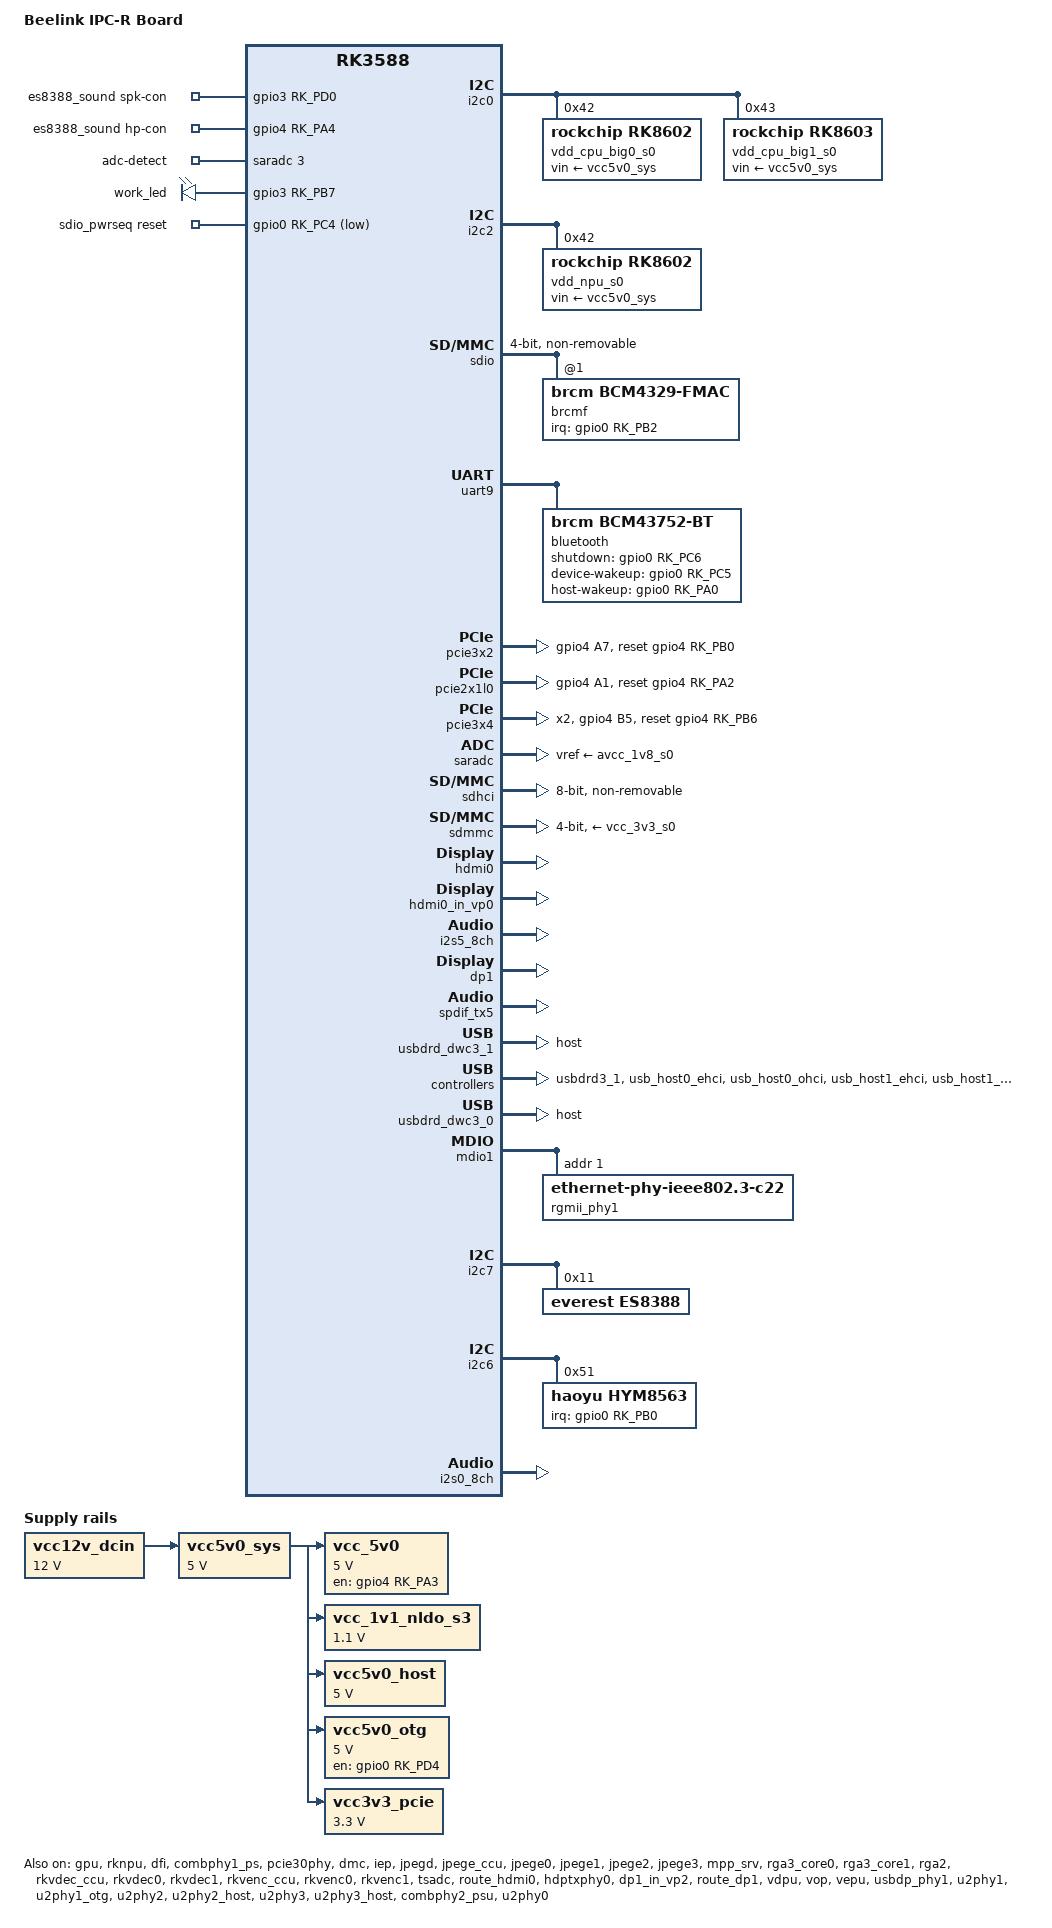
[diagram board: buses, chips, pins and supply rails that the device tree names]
// SPDX-License-Identifier: (GPL-2.0+ OR MIT)
/*
 * Copyright (c) 2023 beelink Electronics Co., Ltd.
 * Copyright (c) 2023 beelink Limited
 *
 */

/dts-v1/;

#include <dt-bindings/gpio/gpio.h>
#include <dt-bindings/leds/common.h>
#include <dt-bindings/pwm/pwm.h>
#include <dt-bindings/pinctrl/rockchip.h>
#include <dt-bindings/input/rk-input.h>
#include <dt-bindings/display/drm_mipi_dsi.h>
#include <dt-bindings/display/rockchip_vop.h>
#include <dt-bindings/sensor-dev.h>
#include <dt-bindings/phy/phy.h>
#include "rk3588.dtsi"
#include "rk3588-rk806-single.dtsi"
#include "rk3588-vccio3-pinctrl.dtsi"
#include "rk3588-linux.dtsi"

/ {
	model = "Beelink IPC-R Board";
	compatible = "beelink,ipc-r", "rockchip,rk3588";
	/delete-node/ chosen;

	vcc12v_dcin: vcc12v-dcin {
		compatible = "regulator-fixed";
		regulator-name = "vcc12v_dcin";
		regulator-always-on;
		regulator-boot-on;
		regulator-min-microvolt = <12000000>;
		regulator-max-microvolt = <12000000>;
	};

	vcc5v0_sys: vcc5v0-sys {
		compatible = "regulator-fixed";
		regulator-name = "vcc5v0_sys";
		regulator-always-on;
		regulator-boot-on;
		regulator-min-microvolt = <5000000>;
		regulator-max-microvolt = <5000000>;
		vin-supply = <&vcc12v_dcin>;
	};

	vcc_5v0: vcc-5v0 {
		compatible = "regulator-fixed";
		regulator-name = "vcc_5v0";
		regulator-min-microvolt = <5000000>;
		regulator-max-microvolt = <5000000>;
		regulator-boot-on;
		regulator-always-on;
		enable-active-high;
		gpio = <&gpio4 RK_PA3 GPIO_ACTIVE_HIGH>;
		pinctrl-names = "default";
		pinctrl-0 = <&vcc_5v0_en>;
		vin-supply = <&vcc5v0_sys>;
	};

	vcc_1v1_nldo_s3: vcc-1v1-nldo-s3 {
		compatible = "regulator-fixed";
		regulator-name = "vcc_1v1_nldo_s3";
		regulator-always-on;
		regulator-boot-on;
		regulator-min-microvolt = <1100000>;
		regulator-max-microvolt = <1100000>;
		vin-supply = <&vcc5v0_sys>;
	};
	
	hdmi0_sound: hdmi0-sound {
		status = "okay";
		compatible = "rockchip,hdmi";
		rockchip,mclk-fs = <128>;
		rockchip,card-name = "rockchip-hdmi0";
		rockchip,cpu = <&i2s5_8ch>;
		rockchip,codec = <&hdmi0>;
		rockchip,jack-det;
	};

	dp1_sound: dp1-sound {
		status = "okay";
		compatible = "rockchip,hdmi";
		rockchip,mclk-fs = <512>;
		rockchip,card-name= "rockchip,dp1";
		rockchip,cpu = <&spdif_tx5>;
		rockchip,codec = <&dp1 1>;
		rockchip,jack-det;
	};

	es8388_sound: es8388-sound {
		status = "okay";
		compatible = "rockchip,multicodecs-card";
		rockchip,card-name = "rockchip-es8388";
		io-channels = <&saradc 3>;
		io-channel-names = "adc-detect";
		keyup-threshold-microvolt = <1800000>;
		poll-interval = <100>;
		spk-con-gpios = <&gpio3 RK_PD0 GPIO_ACTIVE_HIGH>;
		hp-con-gpios = <&gpio4 RK_PA4 GPIO_ACTIVE_HIGH>;
		rockchip,format = "i2s";
		rockchip,mclk-fs = <256>;
		rockchip,cpu = <&i2s0_8ch>;
		rockchip,codec = <&es8388>;
		rockchip,audio-routing =
			"Headphone", "LOUT2",
			"Headphone", "ROUT2",
			"Speaker", "LOUT2",
			"Speaker", "ROUT2",
			"Headphone", "Headphone Power",
			"Speaker", "Speaker Power",
			"LINPUT1", "Main Mic",
			"LINPUT2", "Main Mic",
			"RINPUT1", "Headset Mic",
			"RINPUT2", "Headset Mic";
	};
	leds: leds {
                 compatible = "gpio-leds";
                 work_led: work-led {
                         gpios = <&gpio3 RK_PB7 GPIO_ACTIVE_HIGH>;
                         linux,default-trigger = "default-on";
                 };
         };

	rk_headset: rk-headset {
		/* Disabled: headset detection is handled by the multicodecs
		 * sound card via adc-detect on saradc channel 3, matching the
		 * stock Android configuration. Keeping this node enabled would
		 * make two drivers compete for saradc channel 3.
		 */
		status = "disabled";
		compatible = "rockchip_headset";
		headset_gpio = <&gpio1 RK_PC4 GPIO_ACTIVE_HIGH>;
		pinctrl-names = "default";
		pinctrl-0 = <&hp_det>;
		io-channels = <&saradc 3>;
	};

	vcc5v0_host: vcc5v0-host-regulator {
		compatible = "regulator-fixed";
		regulator-name = "vcc5v0_host";
		regulator-boot-on;
		regulator-always-on;
		regulator-min-microvolt = <5000000>;
		regulator-max-microvolt = <5000000>;
		enable-active-high;
		vin-supply = <&vcc5v0_sys>;
	};

	vcc5v0_otg: vcc5v0-otg-regulator {
		compatible = "regulator-fixed";
		regulator-name = "vcc5v0_otg";
		regulator-min-microvolt = <5000000>;
		regulator-max-microvolt = <5000000>;
		enable-active-high;
		gpio = <&gpio0 RK_PD4 GPIO_ACTIVE_HIGH>;
		pinctrl-names = "default";
		pinctrl-0 = <&vcc5v0_otg_en>;
		vin-supply = <&vcc5v0_sys>;
	};

	vcc3v3_pcie: vcc3v3-pcie {
		compatible = "regulator-fixed";
		regulator-name = "vcc3v3_pcie";
		regulator-min-microvolt = <3300000>;
		regulator-max-microvolt = <3300000>;
		startup-delay-us = <5000>;
		vin-supply = <&vcc5v0_sys>;
	};

      sdio_pwrseq: sdio-pwrseq {
               compatible = "mmc-pwrseq-simple";
                pinctrl-names = "default";
                pinctrl-0 = <&wifi_enable_h>;
                /*
                 * On the module itself this is one of these (depending
                 * on the actual card populated):
                 * - SDIO_RESET_L_WL_REG_ON
                 * - PDN (power down when low)
                 */
                post-power-on-delay-ms = <200>;
                reset-gpios = <&gpio0 RK_PC4 GPIO_ACTIVE_LOW>;
         };

};

&i2c0 {
	status = "okay";
	pinctrl-names = "default";
	pinctrl-0 = <&i2c0m2_xfer>;

	vdd_cpu_big0_s0: vdd_cpu_big0_mem_s0: rk8602@42 {
		compatible = "rockchip,rk8602";
		reg = <0x42>;
		vin-supply = <&vcc5v0_sys>;
		regulator-compatible = "rk860x-reg";
		regulator-name = "vdd_cpu_big0_s0";
		regulator-min-microvolt = <550000>;
		regulator-max-microvolt = <1050000>;
		regulator-ramp-delay = <2300>;
		rockchip,suspend-voltage-selector = <1>;
		regulator-boot-on;
		regulator-always-on;
		regulator-state-mem {
			regulator-off-in-suspend;
		};
	};

	vdd_cpu_big1_s0: vdd_cpu_big1_mem_s0: rk8603@43 {
		compatible = "rockchip,rk8603";
		reg = <0x43>;
		vin-supply = <&vcc5v0_sys>;
		regulator-compatible = "rk860x-reg";
		regulator-name = "vdd_cpu_big1_s0";
		regulator-min-microvolt = <550000>;
		regulator-max-microvolt = <1050000>;
		regulator-ramp-delay = <2300>;
		rockchip,suspend-voltage-selector = <1>;
		regulator-boot-on;
		regulator-always-on;
		regulator-state-mem {
			regulator-off-in-suspend;
		};
	};
};

&i2c2 {
	status = "okay";
	pinctrl-names = "default";
	pinctrl-0 = <&i2c2m0_xfer>;

	vdd_npu_s0: vdd_npu_mem_s0: rk8602@42 {
		compatible = "rockchip,rk8602";
		reg = <0x42>;
		vin-supply = <&vcc5v0_sys>;
		regulator-compatible = "rk860x-reg";
		regulator-name = "vdd_npu_s0";
		regulator-min-microvolt = <550000>;
		regulator-max-microvolt = <950000>;
		regulator-ramp-delay = <2300>;
		rockchip,suspend-voltage-selector = <1>;
		regulator-boot-on;
		regulator-always-on;
		regulator-state-mem {
			regulator-off-in-suspend;
		};
	};
};

/* CPU */

&cpu_l0 {
	cpu-supply = <&vdd_cpu_lit_s0>;
	mem-supply = <&vdd_cpu_lit_mem_s0>;
};

&cpu_b0 {
	cpu-supply = <&vdd_cpu_big0_s0>;
	mem-supply = <&vdd_cpu_big0_mem_s0>;
};

&cpu_b2 {
	cpu-supply = <&vdd_cpu_big1_s0>;
	mem-supply = <&vdd_cpu_big1_mem_s0>;
};

/* GPU */

&gpu {
	mali-supply = <&vdd_gpu_s0>;
	mem-supply = <&vdd_gpu_mem_s0>;
	status = "okay";
};
&sdio {
  max-frequency = <150000000>;
  no-sd;
  no-mmc;
  bus-width = <4>;
  disable-wp;
  cap-sd-highspeed;
  cap-sdio-irq;
  keep-power-in-suspend;
  mmc-pwrseq = <&sdio_pwrseq>;
  non-removable;
  pinctrl-names = "default";
  pinctrl-0 = <&sdiom0_pins>;
  sd-uhs-sdr104;
  status = "okay";

  #address-cells = <1>;
  #size-cells = <0>;

  brcmf: wifi@1 {
    reg = <1>;
    compatible = "brcm,bcm4329-fmac";
    interrupt-parent = <&gpio0>;
    interrupts = <RK_PB2 IRQ_TYPE_LEVEL_HIGH>;
    interrupt-names = "host-wake";
    pinctrl-names = "default";
    pinctrl-0 = <&wifi_host_wake_irq>;
  };
};
&uart9 {
  status = "okay";
  pinctrl-names = "default";
  pinctrl-0 = <&uart9m0_xfer &uart9m0_ctsn>;

  bluetooth {
    compatible = "brcm,bcm43752-bt";
    shutdown-gpios = <&gpio0 RK_PC6 GPIO_ACTIVE_HIGH>;
    device-wakeup-gpios = <&gpio0 RK_PC5 GPIO_ACTIVE_HIGH>;
    host-wakeup-gpios = <&gpio0 RK_PA0 GPIO_ACTIVE_HIGH>;
    pinctrl-names = "default";
    pinctrl-0 = <&bt_reset_gpio &bt_wake_gpio &bt_irq_gpio>;
  };
};

/* NPU */

&rknpu {
	rknpu-supply = <&vdd_npu_s0>;
	mem-supply = <&vdd_npu_mem_s0>;
	status = "okay";
};

&dfi {
	status = "okay";
};

&dmac1 {
	arm,pl330-mcbufsz-bytes = <1024>;
};

&combphy1_ps {
         status = "okay";
};

&pcie30phy {
    rockchip,pcie30-phymode = <PHY_MODE_PCIE_NANBNB>;
    status = "okay";
};
&pcie3x2 {
     reset-gpios = <&gpio4 RK_PB0 GPIO_ACTIVE_HIGH>;
     pinctrl-names = "default";
     pinctrl-0 = <&rtl8111_isolate2>;
     status = "okay";

};
&pcie2x1l0 {
         reset-gpios = <&gpio4 RK_PA2 GPIO_ACTIVE_HIGH>;
         pinctrl-names = "default";
         pinctrl-0 = <&rtl8111_isolate>;
         status = "okay";

};
&pcie3x4 {
         num-lanes = <2>;
         reset-gpios = <&gpio4 RK_PB6 GPIO_ACTIVE_HIGH>;
         pinctrl-names = "default";
         pinctrl-0 = <&rtl8111_isolate1>;
         status = "okay";
};

&dmc {
	status = "okay";
	center-supply = <&vdd_ddr_s0>;
	mem-supply = <&vdd_log_s0>;
};

&dmc_opp_table {
	/delete-node/ opp-528000000;
	/delete-node/ opp-1068000000;

	opp-528000000 {
		opp-hz = /bits/ 64 <528000000>;
		opp-microvolt = <725000 725000 875000>,
				<725000 725000 750000>;
		opp-microvolt-L1 = <725000 725000 875000>,
				   <700000 700000 750000>;
		opp-microvolt-L2 = <725000 725000 875000>,
				   <687500 687500 750000>;
		opp-microvolt-L3 = <725000 725000 875000>,
				   <675000 675000 750000>;
	};

	opp-1068000000 {
		opp-hz = /bits/ 64 <1068000000>;
		opp-microvolt = <775000 775000 875000>,
				<737500 737500 750000>;
		opp-microvolt-L1 = <750000 750000 875000>,
				   <712500 712500 750000>;
		opp-microvolt-L2 = <725000 725000 875000>,
				   <700000 700000 750000>;
		opp-microvolt-L3 = <725000 725000 875000>,
				   <687500 687500 750000>;
	};
};

&rknpu_mmu {
	status = "okay";
};

&iep {
	status = "okay";
};

&iep_mmu {
	status = "okay";
};

&jpegd {
	status = "okay";
};

&jpegd_mmu {
	status = "okay";
};

&jpege_ccu {
	status = "okay";
};

&jpege0 {
	status = "okay";
};

&jpege0_mmu {
	status = "okay";
};

&jpege1 {
	status = "okay";
};

&jpege1_mmu {
	status = "okay";
};

&jpege2 {
	status = "okay";
};

&jpege2_mmu {
	status = "okay";
};

&jpege3 {
	status = "okay";
};

&jpege3_mmu {
	status = "okay";
};

&mpp_srv {
	status = "okay";
};

&rga3_core0 {
	status = "okay";
};

&rga3_0_mmu {
	status = "okay";
};

&rga3_core1 {
	status = "okay";
};

&rga3_1_mmu {
	status = "okay";
};

&rga2 {
	status = "okay";
};

&rkvdec_ccu {
	status = "okay";
};

&rkvdec0 {
	status = "okay";
};

&rkvdec0_mmu {
	status = "okay";
};

&rkvdec1 {
	status = "okay";
};

&rkvdec1_mmu {
	status = "okay";
};

&rkvenc_ccu {
	status = "okay";
};

&rkvenc0 {
	status = "okay";
};

&rkvenc0_mmu {
	status = "okay";
};

&rkvenc1 {
	status = "okay";
};

&rkvenc1_mmu {
	status = "okay";
};

&saradc {
	status = "okay";
	vref-supply = <&avcc_1v8_s0>;
};

/* Storage */
/* eMMC */

&sdhci {
	bus-width = <8>;
	no-sdio;
	no-sd;
	non-removable;
	max-frequency = <200000000>;
	mmc-hs200-1_8v;
	/delete-property/ mmc-hs400-enhanced-strobe;
	pinctrl-names = "default";
	pinctrl-0 = <&emmc_rstnout &emmc_bus8 &emmc_clk &emmc_cmd &emmc_data_strobe>;
	status = "okay";
};

/* SD */

&sdmmc {
	max-frequency = <200000000>;
	no-sdio;
	no-mmc;
	bus-width = <4>;
	cap-mmc-highspeed;
	cap-sd-highspeed;
	disable-wp;
	sd-uhs-sdr104;
	vmmc-supply = <&vcc_3v3_s0>;
	vqmmc-supply = <&vccio_sd_s0>;
	pinctrl-names = "default";
	pinctrl-0 = <&sdmmc_bus4 &sdmmc_clk &sdmmc_cmd &sdmmc_det>;
	status = "okay";
};

/* ADC */

&tsadc {
	status = "okay";
};

/* HDMI */

&hdmi0 {
	enable-gpios = <&gpio4 RK_PB1 GPIO_ACTIVE_HIGH>;
	status = "okay";

};

&hdmi0_in_vp0 {
	status = "okay";
};

&route_hdmi0 {
	status = "okay";
	connect = <&vp0_out_hdmi0>;
};

&hdptxphy0 {
	status = "okay";
};

&i2s5_8ch {
	status = "okay";
};

/* DP */

&dp1 {
	status = "okay";
	 pinctrl-0 = <&dp1m0_pins>;
	pinctrl-names = "default";
};

&dp1_in_vp2 {
	status = "okay";
};

&route_dp1 {
	status = "okay";
	connect = <&vp2_out_dp1>;
};

&spdif_tx5 {
	status = "okay";
};

&vdpu {
	status = "okay";
};

&vdpu_mmu {
	status = "okay";
};

/* Video Ports */

&vop {
	vop-supply = <&vdd_log_s0>;
	status = "okay";
	assigned-clocks = <&cru ACLK_VOP>;
	assigned-clock-rates = <800000000>;
};

&vop_mmu {
	status = "okay";
};

&vepu {
	status = "okay";
};

/* vp0 & vp1 splice for 8K output */
&vp0 {
	rockchip,plane-mask = <(1 << ROCKCHIP_VOP2_CLUSTER0 | 1 << ROCKCHIP_VOP2_ESMART0)>;
	rockchip,primary-plane = <ROCKCHIP_VOP2_ESMART0>;
	cursor-win-id = <ROCKCHIP_VOP2_CLUSTER0>;
};

&vp1 {
	rockchip,plane-mask = <(1 << ROCKCHIP_VOP2_CLUSTER1 | 1 << ROCKCHIP_VOP2_ESMART1)>;
	rockchip,primary-plane = <ROCKCHIP_VOP2_ESMART1>;
	cursor-win-id = <ROCKCHIP_VOP2_CLUSTER1>;
};

&vp2 {
	rockchip,plane-mask = <(1 << ROCKCHIP_VOP2_CLUSTER2 | 1 << ROCKCHIP_VOP2_ESMART2)>;
	rockchip,primary-plane = <ROCKCHIP_VOP2_ESMART2>;
	cursor-win-id = <ROCKCHIP_VOP2_CLUSTER2>;
};

&vp3 {
	rockchip,plane-mask = <(1 << ROCKCHIP_VOP2_CLUSTER3 | 1 << ROCKCHIP_VOP2_ESMART3)>;
	rockchip,primary-plane = <ROCKCHIP_VOP2_ESMART3>;
	cursor-win-id = <ROCKCHIP_VOP2_CLUSTER3>;
};

/* USB */
&usbdp_phy1 {
         rockchip,dp-lane-mux = <0 1 2 3>;
         status = "okay";
};

&usbdrd_dwc3_1 {
      dr_mode = "host";
      maximum-speed = "high-speed";
      status = "okay";
};
&u2phy1 {
       status = "okay";
};
&u2phy1_otg {
         status = "okay";
};

&usbdrd3_1 {
         status = "okay";
};

&usb_host0_ehci {
	status = "okay";
};

&usb_host0_ohci {
	status = "okay";
};

&u2phy2 {
	status = "okay";
};

&u2phy2_host {
	status = "okay";
};

&usb_host1_ehci {
	status = "okay";
};

&usb_host1_ohci {
	status = "okay";
};

&u2phy3 {
	status = "okay";
};

&u2phy3_host {
	status = "okay";
};

&usbhost3_0 {
	status = "okay";
};

&usbhost_dwc3_0 {
	status = "okay";
};

&combphy2_psu {
	status = "okay";
};

&u2phy0 {
	status = "okay";
};

&u2phy0_otg {
	status = "okay";
	vbus-supply = <&vcc5v0_otg>;
};

&usbdrd3_0 {
	status = "okay";
};

&usbdrd_dwc3_0 {
	dr_mode = "host";
	status = "okay";
};


&usbdp_phy0 {
	status = "okay";
	rockchip,dp-lane-mux = < 2 3 >;
};


/* PCIe */

&combphy0_ps {
	status = "okay";
};

&pcie2x1l2 {
	status = "disabled";
	reset-gpios = <&gpio3 RK_PD1 GPIO_ACTIVE_HIGH>;
	vpcie3v3-supply = <&vcc3v3_pcie>;
};

/* Ethernet */

&mdio1 {
	rgmii_phy1: phy@1 {
		compatible = "ethernet-phy-ieee802.3-c22";
		reg = <0x1>;
	};
};

&gmac1 {
	status = "disabled";
	phy-mode = "rgmii";
	clock_in_out = "output";

	snps,reset-gpio = <&gpio4 RK_PA2 GPIO_ACTIVE_LOW>;
	snps,reset-active-low;
	// Reset time is 20ms, 100ms for rtl8211f
	snps,reset-delays-us = <0 20000 100000>;

	pinctrl-names = "default";
	pinctrl-0 = <&gmac1_miim
		     &gmac1_tx_bus2
		     &gmac1_rx_bus2
		     &gmac1_rgmii_clk
		     &gmac1_rgmii_bus>;

	tx_delay = <0x3a>;
	rx_delay = <0x3e>;

	phy-handle = <&rgmii_phy1>;
};

/* I2C */

&i2c7 {
	status = "okay";

	es8388: es8388@11 {
		compatible = "everest,es8388", "everest,es8323";
		reg = <0x11>;
		clocks = <&cru I2S0_8CH_MCLKOUT>;
		clock-names = "mclk";
		assigned-clocks = <&cru I2S0_8CH_MCLKOUT>;
		assigned-clock-rates = <12288000>;
		pinctrl-names = "default";
		pinctrl-0 = <&i2s0_mclk>;
		#sound-dai-cells = <0>;
	};
};
&i2c6 {
         status = "okay";
         hym8563: hym8563@51 {
         compatible = "haoyu,hym8563";
         reg = <0x51>;

         pinctrl-names = "default";
         pinctrl-0 = <&hym8563_int>;

         interrupt-parent = <&gpio0>;
         interrupts = <RK_PB0 IRQ_TYPE_LEVEL_LOW>;
         wakeup-source;
         };
};
&i2s0_8ch {
	status = "okay";
	rockchip,playback-channels = <2>;
	rockchip,capture-channels = <2>;
	#sound-dai-cells = <0>;
	pinctrl-names = "default";
	pinctrl-0 = <&i2s0_lrck
			 &i2s0_sclk
			 &i2s0_sdi0
			 &i2s0_sdo0>;
};

&pinctrl {

	power {
		vcc_5v0_en: vcc-5v0-en {
			rockchip,pins = <4 RK_PA3 RK_FUNC_GPIO &pcfg_pull_none>;
		};
	};

	usb {

		vcc5v0_otg_en: vcc5v0-otg-en {
			rockchip,pins = <0 RK_PD4 RK_FUNC_GPIO &pcfg_pull_none>;
		};
	};

     wireless-bluetooth {
               uart9_gpios: uart9-gpios {
                       rockchip,pins = <4 RK_PC4 RK_FUNC_GPIO &pcfg_pull_none>;
                };
               bt_reset_gpio: bt-reset-gpio {
                         rockchip,pins = <0 RK_PC6 RK_FUNC_GPIO &pcfg_pull_none>;
                };
                bt_wake_gpio: bt-wake-gpio {
                         rockchip,pins = <0 RK_PC5 RK_FUNC_GPIO &pcfg_pull_none>;
                };
                 bt_irq_gpio: bt-irq-gpio {
                         rockchip,pins = <0 RK_PA0 RK_FUNC_GPIO &pcfg_pull_none>;
                };
        };
       wireless-wlan {
                wifi_host_wake_irq: wifi-host-wake-irq {
                         rockchip,pins = <0 RK_PB2 RK_FUNC_GPIO &pcfg_pull_down>;
                 };
         };

	hym8563 {
                hym8563_int: hym8563-int {
                        rockchip,pins = <0 RK_PB0 RK_FUNC_GPIO &pcfg_pull_up>;
                };
	};
	sdio-pwrseq {
	            wifi_enable_h: wifi-enable-h {
	                rockchip,pins = <0 RK_PC4 RK_FUNC_GPIO &pcfg_pull_up>;
	                 };
	};

	rtl8111 {
	   rtl8111_isolate: rtl8111-isolate {
                        rockchip,pins = <4 RK_PA1 RK_FUNC_GPIO &pcfg_pull_up>;
                  };
        rtl8111_isolate1: rtl8111-isolate1 {
                        rockchip,pins = <4 RK_PB5 RK_FUNC_GPIO &pcfg_pull_up>;
                  };
	 rtl8111_isolate2: rtl8111-isolate2 {
                        rockchip,pins = <4 RK_PA7 RK_FUNC_GPIO &pcfg_pull_up>;
                  };
	};
	headphone {
		hp_det: hp-det {
			rockchip,pins = <1 RK_PC4 RK_FUNC_GPIO &pcfg_pull_up>;
		};
	};

	dp {
		dp0_hpd: dp0-hpd {
			rockchip,pins = <0 RK_PC4 RK_FUNC_GPIO &pcfg_pull_none>;
		};
	};
};

&usbdp_phy0 {
	status = "okay";
};

&usbdp_phy1 {
	status = "okay";
};
